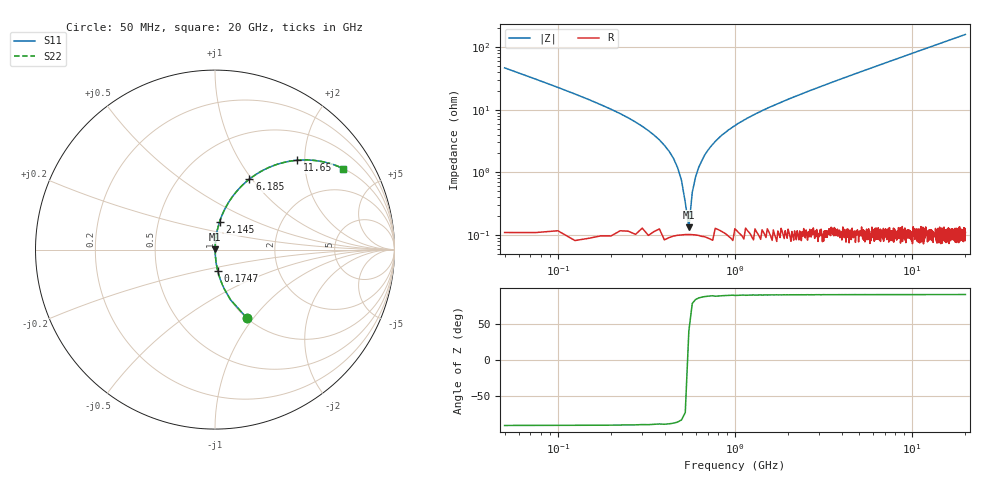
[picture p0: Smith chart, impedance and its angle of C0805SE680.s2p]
! AVX Thin Film Operation		Date: April 2012
! Description: Accu-P® Series, Thin Film, SMD, RF Capacitor
! Part Number: 08053K680FBTTR
!	100	MHz	-	20.05	GHz
!	Serial	Measurements
#	MHZ	S	MA	R	50
!	S11	S21	S12	S22
!	dB	Phase	dB	Phase	dB	Phase	dB	Phase
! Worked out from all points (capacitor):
!   801 points, 50 MHz to 20 GHz, reference 50 ohm
!   read as one part in series: C = 68 pF near 149.8 MHz
!   lowest |Z| = 133 mohm at 548.8 MHz (marker M1)
!   series resonance near 543.4 MHz, so ESL is about 1.3 nH
!   S11 on the Smith chart (normalised r, x): 50 MHz: 1.00, -0.93; 174.7 MHz: 1.00, -0.24; 2.145 GHz: 1.00, +0.32; 6.185 GHz: 1.00, +0.97; 11.65 GHz: 1.00, +1.84; 20 GHz: 1.00, +3.17
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50  0.421 -65.0  0.906 24.9  0.906 24.9  0.421 -65.0
174.688  0.119 -82.7  0.992 6.8  0.992 6.8  0.119 -82.7
374.188  0.033 -86.3  0.998 1.9  0.998 1.9  0.033 -86.3
424.063  0.022 -86.0  0.999 1.2  0.999 1.2  0.022 -86.0
449  0.017 -85.5  0.999 0.9  0.999 0.9  0.017 -85.5
473.938  0.012 -84.3  0.999 0.7  0.999 0.7  0.012 -84.3
548.75  0.001343 39.3  0.999 -0.0  0.999 -0.0  0.001343 39.3
598.625  0.008415 82.4  0.999 -0.5  0.999 -0.5  0.008415 82.4
623.563  0.012 84.3  0.999 -0.7  0.999 -0.7  0.012 84.3
698.375  0.022 86.0  0.999 -1.2  0.999 -1.2  0.022 86.0
773.188  0.031 86.3  0.998 -1.8  0.998 -1.8  0.031 86.3
997.625  0.055 85.7  0.997 -3.2  0.997 -3.2  0.055 85.7
1446.5  0.098 83.8  0.994 -5.6  0.994 -5.6  0.098 83.8
2144.75  0.157 80.6  0.987 -9.0  0.987 -9.0  0.157 80.6
3391.625  0.253 75.1  0.966 -14.7  0.966 -14.7  0.253 75.1
6184.625  0.437 64.0  0.898 -25.9  0.898 -25.9  0.437 64.0
6708.313  0.467 62.1  0.883 -27.8  0.883 -27.8  0.467 62.1
10025  0.621 51.6  0.783 -38.4  0.783 -38.4  0.621 51.6
11645.94  0.677 47.3  0.735 -42.6  0.735 -42.6  0.677 47.3
13366.62  0.726 43.4  0.687 -46.6  0.687 -46.6  0.726 43.4
16683.31  0.797 37.1  0.603 -52.9  0.603 -52.9  0.797 37.1
20000  0.845 32.2  0.534 -57.7  0.534 -57.7  0.845 32.2
